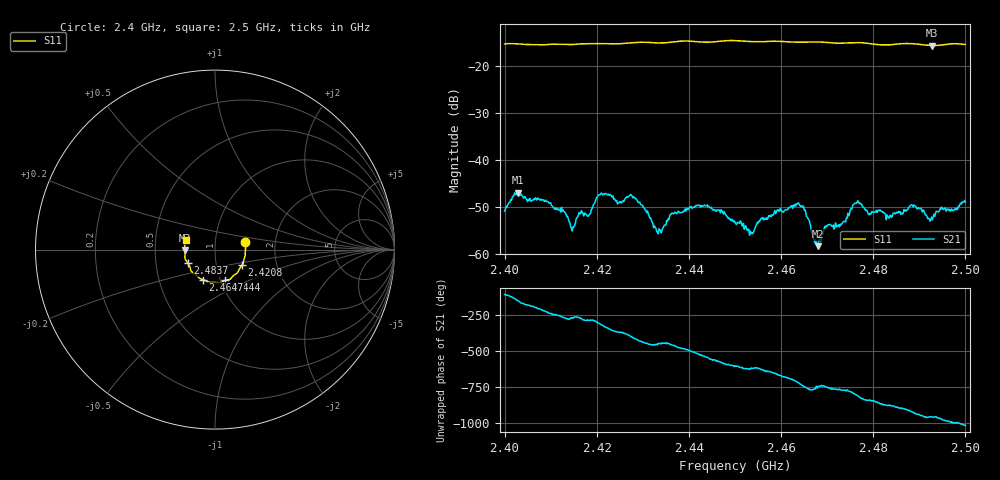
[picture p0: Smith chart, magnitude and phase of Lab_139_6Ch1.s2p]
# Hz S RI R 50
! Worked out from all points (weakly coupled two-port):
!   601 points, 2.4 GHz to 2.5 GHz, reference 50 ohm
!   highest |S21| = -46.97 dB at 2.4028 GHz (marker M1); lowest = -58.4 dB at 2.468 GHz (marker M2)
!   lowest |S11| = -15.6 dB at 2.4928 GHz (marker M3), VSWR 1.40, Z = 35.8 - j0.354 ohm
!   |S11| at or under -10 dB: start of sweep to end of sweep
!   S12 and S22 are empty: the file has one direction only
!   S11 on the Smith chart (normalised r, x): 2.4 GHz: 1.40, +0.12; 2.4208 GHz: 1.33, -0.24; 2.444 GHz: 1.06, -0.37; 2.4647 GHz: 0.83, -0.29; 2.4837 GHz: 0.73, -0.11; 2.5 GHz: 0.72, +0.08
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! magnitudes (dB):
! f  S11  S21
! 2.4 GHz  -15.2  -50.9
! 2.4028 GHz  -15.2  -47.0
! 2.4128 GHz  -15.3  -51.0
! 2.4147 GHz  -15.4  -55.1
! 2.4167 GHz  -15.2  -50.8
! 2.4208 GHz  -15.2  -47.4
! 2.4278 GHz  -15.0  -48.1
! 2.4333 GHz  -15.0  -55.7
! 2.4365 GHz  -14.8  -51.4
! 2.444 GHz  -14.9  -49.6
! 2.45 GHz  -14.5  -53.2
! 2.4537 GHz  -14.8  -55.5
! 2.459 GHz  -14.7  -51.0
! 2.4647 GHz  -14.9  -49.8
! 2.4667 GHz  -14.8  -55.4
! 2.468 GHz  -14.8  -58.4
! 2.4762 GHz  -15.0  -49.3
! 2.4833 GHz  -15.5  -52.3
! 2.4837 GHz  -15.4  -51.8
! 2.4885 GHz  -15.2  -49.6
! 2.4928 GHz  -15.6  -52.7
! 2.5 GHz  -15.4  -48.9
